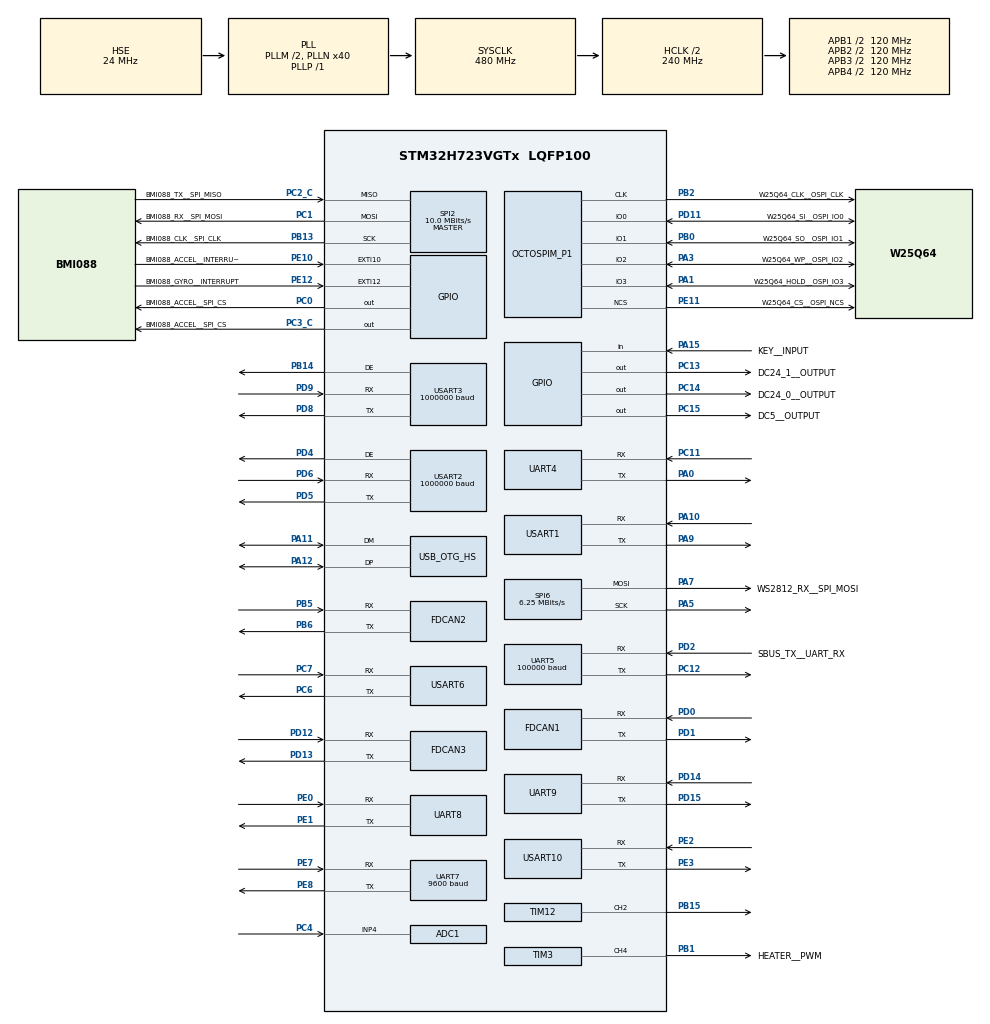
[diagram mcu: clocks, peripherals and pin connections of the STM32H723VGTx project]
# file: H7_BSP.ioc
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ADC1.Channel-0\#ChannelRegularConversion=ADC_CHANNEL_4
ADC1.ConversionDataManagement=ADC_CONVERSIONDATA_DMA_CIRCULAR
ADC1.NbrOfConversionFlag=1
ADC1.OffsetNumber-0\#ChannelRegularConversion=ADC_OFFSET_NONE
ADC1.OffsetSignedSaturation-0\#ChannelRegularConversion=DISABLE
ADC1.Rank-0\#ChannelRegularConversion=1
ADC1.SamplingTime-0\#ChannelRegularConversion=ADC_SAMPLETIME_1CYCLE_5
ADC1.master=1
CORTEX_M7.AccessPermission_Spec=MPU_REGION_FULL_ACCESS
CORTEX_M7.BaseAddress_Spec=0x24000000
CORTEX_M7.CPU_DCache=Enabled
CORTEX_M7.CPU_ICache=Enabled
CORTEX_M7.DisableExec_Spec=MPU_INSTRUCTION_ACCESS_DISABLE
CORTEX_M7.IsShareable_Spec=MPU_ACCESS_SHAREABLE
CORTEX_M7.Size_Spec=MPU_REGION_SIZE_64KB
CORTEX_M7.SubRegionDisable_Spec=0x0
CORTEX_M7.TypeExtField_Spec=MPU_TEX_LEVEL1
CORTEX_M7.default_mode_Activation=1
Dma.ADC1.11.Direction=DMA_PERIPH_TO_MEMORY
Dma.ADC1.11.EventEnable=DISABLE
Dma.ADC1.11.FIFOMode=DMA_FIFOMODE_DISABLE
Dma.ADC1.11.Instance=DMA2_Stream5
Dma.ADC1.11.MemDataAlignment=DMA_MDATAALIGN_HALFWORD
Dma.ADC1.11.MemInc=DMA_MINC_ENABLE
Dma.ADC1.11.Mode=DMA_CIRCULAR
Dma.ADC1.11.PeriphDataAlignment=DMA_PDATAALIGN_HALFWORD
Dma.ADC1.11.PeriphInc=DMA_PINC_DISABLE
Dma.ADC1.11.Polarity=HAL_DMAMUX_REQ_GEN_RISING
Dma.ADC1.11.Priority=DMA_PRIORITY_LOW
Dma.ADC1.11.RequestNumber=1
Dma.ADC1.11.SignalID=NONE
Dma.ADC1.11.SyncEnable=DISABLE
Dma.ADC1.11.SyncPolarity=HAL_DMAMUX_SYNC_NO_EVENT
Dma.ADC1.11.SyncRequestNumber=1
Dma.ADC1.11.SyncSignalID=NONE
Dma.Request0=SPI2_RX
Dma.Request1=SPI2_TX
Dma.Request10=USART10_TX
Dma.Request11=ADC1
Dma.Request12=UART8_RX
Dma.Request13=UART8_TX
Dma.Request14=UART9_RX
Dma.Request15=UART9_TX
Dma.Request2=UART5_RX
Dma.Request3=UART7_RX
Dma.Request4=UART7_TX
Dma.Request5=USART2_RX
Dma.Request6=USART2_TX
Dma.Request7=USART3_RX
Dma.Request8=USART3_TX
Dma.Request9=USART10_RX
Dma.SPI2_RX.0.Direction=DMA_PERIPH_TO_MEMORY
Dma.SPI2_RX.0.EventEnable=DISABLE
Dma.SPI2_RX.0.FIFOMode=DMA_FIFOMODE_DISABLE
Dma.SPI2_RX.0.Instance=DMA1_Stream0
Dma.SPI2_RX.0.MemDataAlignment=DMA_MDATAALIGN_BYTE
Dma.SPI2_RX.0.MemInc=DMA_MINC_ENABLE
Dma.SPI2_RX.0.Mode=DMA_NORMAL
Dma.SPI2_RX.0.PeriphDataAlignment=DMA_PDATAALIGN_BYTE
Dma.SPI2_RX.0.PeriphInc=DMA_PINC_DISABLE
Dma.SPI2_RX.0.Polarity=HAL_DMAMUX_REQ_GEN_RISING
Dma.SPI2_RX.0.Priority=DMA_PRIORITY_VERY_HIGH
Dma.SPI2_RX.0.RequestNumber=1
Dma.SPI2_RX.0.SignalID=NONE
Dma.SPI2_RX.0.SyncEnable=DISABLE
Dma.SPI2_RX.0.SyncPolarity=HAL_DMAMUX_SYNC_NO_EVENT
Dma.SPI2_RX.0.SyncRequestNumber=1
Dma.SPI2_RX.0.SyncSignalID=NONE
Dma.SPI2_TX.1.Direction=DMA_MEMORY_TO_PERIPH
Dma.SPI2_TX.1.EventEnable=DISABLE
Dma.SPI2_TX.1.FIFOMode=DMA_FIFOMODE_DISABLE
Dma.SPI2_TX.1.Instance=DMA1_Stream1
Dma.SPI2_TX.1.MemDataAlignment=DMA_MDATAALIGN_BYTE
Dma.SPI2_TX.1.MemInc=DMA_MINC_ENABLE
Dma.SPI2_TX.1.Mode=DMA_NORMAL
Dma.SPI2_TX.1.PeriphDataAlignment=DMA_PDATAALIGN_BYTE
Dma.SPI2_TX.1.PeriphInc=DMA_PINC_DISABLE
Dma.SPI2_TX.1.Polarity=HAL_DMAMUX_REQ_GEN_RISING
Dma.SPI2_TX.1.Priority=DMA_PRIORITY_MEDIUM
Dma.SPI2_TX.1.RequestNumber=1
Dma.SPI2_TX.1.SignalID=NONE
Dma.SPI2_TX.1.SyncEnable=DISABLE
Dma.SPI2_TX.1.SyncPolarity=HAL_DMAMUX_SYNC_NO_EVENT
Dma.SPI2_TX.1.SyncRequestNumber=1
Dma.SPI2_TX.1.SyncSignalID=NONE
Dma.UART5_RX.2.Direction=DMA_PERIPH_TO_MEMORY
Dma.UART5_RX.2.EventEnable=DISABLE
Dma.UART5_RX.2.FIFOMode=DMA_FIFOMODE_DISABLE
Dma.UART5_RX.2.Instance=DMA2_Stream3
Dma.UART5_RX.2.MemDataAlignment=DMA_MDATAALIGN_BYTE
Dma.UART5_RX.2.MemInc=DMA_MINC_ENABLE
Dma.UART5_RX.2.Mode=DMA_NORMAL
Dma.UART5_RX.2.PeriphDataAlignment=DMA_PDATAALIGN_BYTE
Dma.UART5_RX.2.PeriphInc=DMA_PINC_DISABLE
Dma.UART5_RX.2.Polarity=HAL_DMAMUX_REQ_GEN_RISING
Dma.UART5_RX.2.Priority=DMA_PRIORITY_VERY_HIGH
Dma.UART5_RX.2.RequestNumber=1
Dma.UART5_RX.2.SignalID=NONE
Dma.UART5_RX.2.SyncEnable=DISABLE
Dma.UART5_RX.2.SyncPolarity=HAL_DMAMUX_SYNC_NO_EVENT
Dma.UART5_RX.2.SyncRequestNumber=1
Dma.UART5_RX.2.SyncSignalID=NONE
Dma.UART7_RX.3.Direction=DMA_PERIPH_TO_MEMORY
Dma.UART7_RX.3.EventEnable=DISABLE
Dma.UART7_RX.3.FIFOMode=DMA_FIFOMODE_DISABLE
Dma.UART7_RX.3.Instance=DMA1_Stream2
Dma.UART7_RX.3.MemDataAlignment=DMA_MDATAALIGN_BYTE
Dma.UART7_RX.3.MemInc=DMA_MINC_ENABLE
Dma.UART7_RX.3.Mode=DMA_NORMAL
Dma.UART7_RX.3.PeriphDataAlignment=DMA_PDATAALIGN_BYTE
Dma.UART7_RX.3.PeriphInc=DMA_PINC_DISABLE
Dma.UART7_RX.3.Polarity=HAL_DMAMUX_REQ_GEN_RISING
Dma.UART7_RX.3.Priority=DMA_PRIORITY_MEDIUM
Dma.UART7_RX.3.RequestNumber=1
Dma.UART7_RX.3.SignalID=NONE
Dma.UART7_RX.3.SyncEnable=DISABLE
Dma.UART7_RX.3.SyncPolarity=HAL_DMAMUX_SYNC_NO_EVENT
Dma.UART7_RX.3.SyncRequestNumber=1
Dma.UART7_RX.3.SyncSignalID=NONE
Dma.UART7_TX.4.Direction=DMA_MEMORY_TO_PERIPH
Dma.UART7_TX.4.EventEnable=DISABLE
Dma.UART7_TX.4.FIFOMode=DMA_FIFOMODE_DISABLE
Dma.UART7_TX.4.Instance=DMA1_Stream3
Dma.UART7_TX.4.MemDataAlignment=DMA_MDATAALIGN_BYTE
Dma.UART7_TX.4.MemInc=DMA_MINC_ENABLE
Dma.UART7_TX.4.Mode=DMA_NORMAL
Dma.UART7_TX.4.PeriphDataAlignment=DMA_PDATAALIGN_BYTE
Dma.UART7_TX.4.PeriphInc=DMA_PINC_DISABLE
Dma.UART7_TX.4.Polarity=HAL_DMAMUX_REQ_GEN_RISING
Dma.UART7_TX.4.Priority=DMA_PRIORITY_MEDIUM
Dma.UART7_TX.4.RequestNumber=1
Dma.UART7_TX.4.SignalID=NONE
Dma.UART7_TX.4.SyncEnable=DISABLE
Dma.UART7_TX.4.SyncPolarity=HAL_DMAMUX_SYNC_NO_EVENT
Dma.UART7_TX.4.SyncRequestNumber=1
Dma.UART7_TX.4.SyncSignalID=NONE
Dma.UART8_RX.12.Direction=DMA_PERIPH_TO_MEMORY
Dma.UART8_RX.12.EventEnable=DISABLE
Dma.UART8_RX.12.FIFOMode=DMA_FIFOMODE_DISABLE
Dma.UART8_RX.12.Instance=DMA1_Stream5
Dma.UART8_RX.12.MemDataAlignment=DMA_MDATAALIGN_BYTE
Dma.UART8_RX.12.MemInc=DMA_MINC_ENABLE
Dma.UART8_RX.12.Mode=DMA_NORMAL
Dma.UART8_RX.12.PeriphDataAlignment=DMA_PDATAALIGN_BYTE
Dma.UART8_RX.12.PeriphInc=DMA_PINC_DISABLE
Dma.UART8_RX.12.Polarity=HAL_DMAMUX_REQ_GEN_RISING
Dma.UART8_RX.12.Priority=DMA_PRIORITY_LOW
Dma.UART8_RX.12.RequestNumber=1
Dma.UART8_RX.12.SignalID=NONE
Dma.UART8_RX.12.SyncEnable=DISABLE
Dma.UART8_RX.12.SyncPolarity=HAL_DMAMUX_SYNC_NO_EVENT
Dma.UART8_RX.12.SyncRequestNumber=1
Dma.UART8_RX.12.SyncSignalID=NONE
Dma.UART8_TX.13.Direction=DMA_MEMORY_TO_PERIPH
Dma.UART8_TX.13.EventEnable=DISABLE
Dma.UART8_TX.13.FIFOMode=DMA_FIFOMODE_DISABLE
Dma.UART8_TX.13.Instance=DMA1_Stream6
Dma.UART8_TX.13.MemDataAlignment=DMA_MDATAALIGN_BYTE
Dma.UART8_TX.13.MemInc=DMA_MINC_ENABLE
Dma.UART8_TX.13.Mode=DMA_NORMAL
Dma.UART8_TX.13.PeriphDataAlignment=DMA_PDATAALIGN_BYTE
Dma.UART8_TX.13.PeriphInc=DMA_PINC_DISABLE
Dma.UART8_TX.13.Polarity=HAL_DMAMUX_REQ_GEN_RISING
Dma.UART8_TX.13.Priority=DMA_PRIORITY_LOW
Dma.UART8_TX.13.RequestNumber=1
Dma.UART8_TX.13.SignalID=NONE
Dma.UART8_TX.13.SyncEnable=DISABLE
Dma.UART8_TX.13.SyncPolarity=HAL_DMAMUX_SYNC_NO_EVENT
Dma.UART8_TX.13.SyncRequestNumber=1
Dma.UART8_TX.13.SyncSignalID=NONE
Dma.UART9_RX.14.Direction=DMA_PERIPH_TO_MEMORY
Dma.UART9_RX.14.EventEnable=DISABLE
Dma.UART9_RX.14.FIFOMode=DMA_FIFOMODE_DISABLE
Dma.UART9_RX.14.Instance=DMA2_Stream6
Dma.UART9_RX.14.MemDataAlignment=DMA_MDATAALIGN_BYTE
Dma.UART9_RX.14.MemInc=DMA_MINC_ENABLE
Dma.UART9_RX.14.Mode=DMA_NORMAL
Dma.UART9_RX.14.PeriphDataAlignment=DMA_PDATAALIGN_BYTE
Dma.UART9_RX.14.PeriphInc=DMA_PINC_DISABLE
Dma.UART9_RX.14.Polarity=HAL_DMAMUX_REQ_GEN_RISING
Dma.UART9_RX.14.Priority=DMA_PRIORITY_LOW
Dma.UART9_RX.14.RequestNumber=1
Dma.UART9_RX.14.SignalID=NONE
Dma.UART9_RX.14.SyncEnable=DISABLE
Dma.UART9_RX.14.SyncPolarity=HAL_DMAMUX_SYNC_NO_EVENT
Dma.UART9_RX.14.SyncRequestNumber=1
Dma.UART9_RX.14.SyncSignalID=NONE
Dma.UART9_TX.15.Direction=DMA_MEMORY_TO_PERIPH
Dma.UART9_TX.15.EventEnable=DISABLE
Dma.UART9_TX.15.FIFOMode=DMA_FIFOMODE_DISABLE
Dma.UART9_TX.15.Instance=DMA2_Stream7
Dma.UART9_TX.15.MemDataAlignment=DMA_MDATAALIGN_BYTE
Dma.UART9_TX.15.MemInc=DMA_MINC_ENABLE
Dma.UART9_TX.15.Mode=DMA_NORMAL
Dma.UART9_TX.15.PeriphDataAlignment=DMA_PDATAALIGN_BYTE
Dma.UART9_TX.15.PeriphInc=DMA_PINC_DISABLE
Dma.UART9_TX.15.Polarity=HAL_DMAMUX_REQ_GEN_RISING
Dma.UART9_TX.15.Priority=DMA_PRIORITY_LOW
Dma.UART9_TX.15.RequestNumber=1
Dma.UART9_TX.15.SignalID=NONE
Dma.UART9_TX.15.SyncEnable=DISABLE
Dma.UART9_TX.15.SyncPolarity=HAL_DMAMUX_SYNC_NO_EVENT
Dma.UART9_TX.15.SyncRequestNumber=1
Dma.UART9_TX.15.SyncSignalID=NONE
Dma.USART10_RX.9.Direction=DMA_PERIPH_TO_MEMORY
Dma.USART10_RX.9.EventEnable=DISABLE
Dma.USART10_RX.9.FIFOMode=DMA_FIFOMODE_DISABLE
Dma.USART10_RX.9.Instance=DMA2_Stream2
Dma.USART10_RX.9.MemDataAlignment=DMA_MDATAALIGN_BYTE
Dma.USART10_RX.9.MemInc=DMA_MINC_ENABLE
Dma.USART10_RX.9.Mode=DMA_NORMAL
Dma.USART10_RX.9.PeriphDataAlignment=DMA_PDATAALIGN_BYTE
Dma.USART10_RX.9.PeriphInc=DMA_PINC_DISABLE
Dma.USART10_RX.9.Polarity=HAL_DMAMUX_REQ_GEN_RISING
Dma.USART10_RX.9.Priority=DMA_PRIORITY_VERY_HIGH
Dma.USART10_RX.9.RequestNumber=1
Dma.USART10_RX.9.SignalID=NONE
Dma.USART10_RX.9.SyncEnable=DISABLE
Dma.USART10_RX.9.SyncPolarity=HAL_DMAMUX_SYNC_NO_EVENT
Dma.USART10_RX.9.SyncRequestNumber=1
Dma.USART10_RX.9.SyncSignalID=NONE
Dma.USART10_TX.10.Direction=DMA_MEMORY_TO_PERIPH
Dma.USART10_TX.10.EventEnable=DISABLE
Dma.USART10_TX.10.FIFOMode=DMA_FIFOMODE_DISABLE
Dma.USART10_TX.10.Instance=DMA2_Stream4
Dma.USART10_TX.10.MemDataAlignment=DMA_MDATAALIGN_BYTE
Dma.USART10_TX.10.MemInc=DMA_MINC_ENABLE
Dma.USART10_TX.10.Mode=DMA_NORMAL
Dma.USART10_TX.10.PeriphDataAlignment=DMA_PDATAALIGN_BYTE
Dma.USART10_TX.10.PeriphInc=DMA_PINC_DISABLE
Dma.USART10_TX.10.Polarity=HAL_DMAMUX_REQ_GEN_RISING
Dma.USART10_TX.10.Priority=DMA_PRIORITY_VERY_HIGH
Dma.USART10_TX.10.RequestNumber=1
Dma.USART10_TX.10.SignalID=NONE
Dma.USART10_TX.10.SyncEnable=DISABLE
Dma.USART10_TX.10.SyncPolarity=HAL_DMAMUX_SYNC_NO_EVENT
Dma.USART10_TX.10.SyncRequestNumber=1
Dma.USART10_TX.10.SyncSignalID=NONE
Dma.USART2_RX.5.Direction=DMA_PERIPH_TO_MEMORY
Dma.USART2_RX.5.EventEnable=DISABLE
Dma.USART2_RX.5.FIFOMode=DMA_FIFOMODE_DISABLE
Dma.USART2_RX.5.Instance=DMA1_Stream4
Dma.USART2_RX.5.MemDataAlignment=DMA_MDATAALIGN_BYTE
Dma.USART2_RX.5.MemInc=DMA_MINC_ENABLE
Dma.USART2_RX.5.Mode=DMA_NORMAL
Dma.USART2_RX.5.PeriphDataAlignment=DMA_PDATAALIGN_BYTE
Dma.USART2_RX.5.PeriphInc=DMA_PINC_DISABLE
Dma.USART2_RX.5.Polarity=HAL_DMAMUX_REQ_GEN_RISING
Dma.USART2_RX.5.Priority=DMA_PRIORITY_MEDIUM
Dma.USART2_RX.5.RequestNumber=1
Dma.USART2_RX.5.SignalID=NONE
Dma.USART2_RX.5.SyncEnable=DISABLE
Dma.USART2_RX.5.SyncPolarity=HAL_DMAMUX_SYNC_NO_EVENT
Dma.USART2_RX.5.SyncRequestNumber=1
Dma.USART2_RX.5.SyncSignalID=NONE
Dma.USART2_TX.6.Direction=DMA_MEMORY_TO_PERIPH
Dma.USART2_TX.6.EventEnable=DISABLE
Dma.USART2_TX.6.FIFOMode=DMA_FIFOMODE_DISABLE
Dma.USART2_TX.6.Instance=DMA1_Stream7
Dma.USART2_TX.6.MemDataAlignment=DMA_MDATAALIGN_BYTE
Dma.USART2_TX.6.MemInc=DMA_MINC_ENABLE
Dma.USART2_TX.6.Mode=DMA_NORMAL
Dma.USART2_TX.6.PeriphDataAlignment=DMA_PDATAALIGN_BYTE
Dma.USART2_TX.6.PeriphInc=DMA_PINC_DISABLE
Dma.USART2_TX.6.Polarity=HAL_DMAMUX_REQ_GEN_RISING
Dma.USART2_TX.6.Priority=DMA_PRIORITY_MEDIUM
Dma.USART2_TX.6.RequestNumber=1
Dma.USART2_TX.6.SignalID=NONE
Dma.USART2_TX.6.SyncEnable=DISABLE
Dma.USART2_TX.6.SyncPolarity=HAL_DMAMUX_SYNC_NO_EVENT
Dma.USART2_TX.6.SyncRequestNumber=1
Dma.USART2_TX.6.SyncSignalID=NONE
Dma.USART3_RX.7.Direction=DMA_PERIPH_TO_MEMORY
Dma.USART3_RX.7.EventEnable=DISABLE
Dma.USART3_RX.7.FIFOMode=DMA_FIFOMODE_DISABLE
Dma.USART3_RX.7.Instance=DMA2_Stream0
Dma.USART3_RX.7.MemDataAlignment=DMA_MDATAALIGN_BYTE
Dma.USART3_RX.7.MemInc=DMA_MINC_ENABLE
Dma.USART3_RX.7.Mode=DMA_NORMAL
Dma.USART3_RX.7.PeriphDataAlignment=DMA_PDATAALIGN_BYTE
Dma.USART3_RX.7.PeriphInc=DMA_PINC_DISABLE
Dma.USART3_RX.7.Polarity=HAL_DMAMUX_REQ_GEN_RISING
Dma.USART3_RX.7.Priority=DMA_PRIORITY_MEDIUM
Dma.USART3_RX.7.RequestNumber=1
Dma.USART3_RX.7.SignalID=NONE
Dma.USART3_RX.7.SyncEnable=DISABLE
Dma.USART3_RX.7.SyncPolarity=HAL_DMAMUX_SYNC_NO_EVENT
Dma.USART3_RX.7.SyncRequestNumber=1
Dma.USART3_RX.7.SyncSignalID=NONE
Dma.USART3_TX.8.Direction=DMA_MEMORY_TO_PERIPH
Dma.USART3_TX.8.EventEnable=DISABLE
Dma.USART3_TX.8.FIFOMode=DMA_FIFOMODE_DISABLE
Dma.USART3_TX.8.Instance=DMA2_Stream1
Dma.USART3_TX.8.MemDataAlignment=DMA_MDATAALIGN_BYTE
Dma.USART3_TX.8.MemInc=DMA_MINC_ENABLE
Dma.USART3_TX.8.Mode=DMA_NORMAL
Dma.USART3_TX.8.PeriphDataAlignment=DMA_PDATAALIGN_BYTE
Dma.USART3_TX.8.PeriphInc=DMA_PINC_DISABLE
Dma.USART3_TX.8.Polarity=HAL_DMAMUX_REQ_GEN_RISING
Dma.USART3_TX.8.Priority=DMA_PRIORITY_MEDIUM
Dma.USART3_TX.8.RequestNumber=1
Dma.USART3_TX.8.SignalID=NONE
Dma.USART3_TX.8.SyncEnable=DISABLE
Dma.USART3_TX.8.SyncPolarity=HAL_DMAMUX_SYNC_NO_EVENT
Dma.USART3_TX.8.SyncRequestNumber=1
Dma.USART3_TX.8.SyncSignalID=NONE
FDCAN1.AutoRetransmission=DISABLE
FDCAN1.CalculateBaudRateNominal=1000000
FDCAN1.CalculateTimeBitNominal=1000
FDCAN1.CalculateTimeQuantumNominal=25.0
FDCAN1.DataPrescaler=3
FDCAN1.DataSyncJumpWidth=10
FDCAN1.DataTimeSeg1=29
FDCAN1.DataTimeSeg2=10
FDCAN1.NominalPrescaler=3
FDCAN1.NominalSyncJumpWidth=10
FDCAN1.NominalTimeSeg1=29
FDCAN1.NominalTimeSeg2=10
FDCAN1.ProtocolException=DISABLE
FDCAN1.RxFifo0ElmtsNbr=16
FDCAN1.StdFiltersNbr=1
FDCAN1.TxFifoQueueElmtsNbr=8
FDCAN2.AutoRetransmission=DISABLE
FDCAN2.CalculateBaudRateNominal=1000000
FDCAN2.CalculateTimeBitNominal=1000
FDCAN2.CalculateTimeQuantumNominal=25.0
FDCAN2.DataPrescaler=3
FDCAN2.DataSyncJumpWidth=10
FDCAN2.DataTimeSeg1=29
FDCAN2.DataTimeSeg2=10
FDCAN2.MessageRAMOffset=853
FDCAN2.NominalPrescaler=3
FDCAN2.NominalSyncJumpWidth=10
FDCAN2.NominalTimeSeg1=29
FDCAN2.NominalTimeSeg2=10
FDCAN2.RxFifo0ElmtsNbr=16
FDCAN2.StdFiltersNbr=1
FDCAN2.TxFifoQueueElmtsNbr=8
FDCAN3.AutoRetransmission=DISABLE
FDCAN3.CalculateBaudRateNominal=1000000
FDCAN3.CalculateTimeBitNominal=1000
FDCAN3.CalculateTimeQuantumNominal=25.0
FDCAN3.DataPrescaler=3
FDCAN3.DataSyncJumpWidth=10
FDCAN3.DataTimeSeg1=29
FDCAN3.DataTimeSeg2=10
FDCAN3.MessageRAMOffset=1706
FDCAN3.NominalPrescaler=3
FDCAN3.NominalSyncJumpWidth=10
FDCAN3.NominalTimeSeg1=29
FDCAN3.NominalTimeSeg2=10
FDCAN3.RxFifo0ElmtsNbr=16
FDCAN3.StdFiltersNbr=1
FDCAN3.TxFifoQueueElmtsNbr=8
FREERTOS.HEAP_NUMBER=5
FREERTOS.Tasks01=TransportTask,24,2048,Transport_Task,As weak,NULL,Dynamic,NULL,NULL;InsTask,41,2048,Ins_Task,As weak,NULL,Dynamic,NULL,NULL;CanTxTask,40,1024,Can_Tx_Task,As weak,NULL,Dynamic,NULL,NULL;TIM_1ms_Task,8,1024,TIM1msTask,As weak,NULL,Dynamic,NULL,NULL;BMI088Task,8,2048,BMI088_Task,As weak,NULL,Dynamic,NULL,NULL;GimbalTask,8,2048,Control_Task,As weak,NULL,Dynamic,NULL,NULL
FREERTOS.configENABLE_FPU=1
FREERTOS.configGENERATE_RUN_TIME_STATS=1
FREERTOS.configMAX_TASK_NAME_LEN=32
FREERTOS.configMINIMAL_STACK_SIZE=1024
FREERTOS.configRECORD_STACK_HIGH_ADDRESS=1
FREERTOS.configTIMER_TASK_STACK_DEPTH=2048
FREERTOS.configTOTAL_HEAP_SIZE=65536
Mcu.Family=STM32H7
Mcu.Name=STM32H723VGTx
Mcu.Package=LQFP100
Mdma.MDMA_Channel0.OCTOSPI2_FIFO_TH.0.BlockCount=0
Mdma.MDMA_Channel0.OCTOSPI2_FIFO_TH.0.BlockDataLength=0
Mdma.MDMA_Channel0.OCTOSPI2_FIFO_TH.0.BufferTransferLength=1
Mdma.MDMA_Channel0.OCTOSPI2_FIFO_TH.0.CircularMode=MDMA_LINEAR_LIST
Mdma.MDMA_Channel0.OCTOSPI2_FIFO_TH.0.DataAlignment=MDMA_DATAALIGN_PACKENABLE
Mdma.MDMA_Channel0.OCTOSPI2_FIFO_TH.0.DestBlockAddressOffset=0
Mdma.MDMA_Channel0.OCTOSPI2_FIFO_TH.0.DestBurst=MDMA_DEST_BURST_SINGLE
Mdma.MDMA_Channel0.OCTOSPI2_FIFO_TH.0.DestDataSize=MDMA_DEST_DATASIZE_BYTE
Mdma.MDMA_Channel0.OCTOSPI2_FIFO_TH.0.DestinationInc=MDMA_DEST_INC_BYTE
Mdma.MDMA_Channel0.OCTOSPI2_FIFO_TH.0.DstAddress=0
Mdma.MDMA_Channel0.OCTOSPI2_FIFO_TH.0.Endianness=MDMA_LITTLE_ENDIANNESS_PRESERVE
Mdma.MDMA_Channel0.OCTOSPI2_FIFO_TH.0.Instance=MDMA_Channel0
Mdma.MDMA_Channel0.OCTOSPI2_FIFO_TH.0.MaskAddress=0
Mdma.MDMA_Channel0.OCTOSPI2_FIFO_TH.0.MaskData=0
Mdma.MDMA_Channel0.OCTOSPI2_FIFO_TH.0.Priority=MDMA_PRIORITY_LOW
Mdma.MDMA_Channel0.OCTOSPI2_FIFO_TH.0.Rank=First
Mdma.MDMA_Channel0.OCTOSPI2_FIFO_TH.0.SourceBlockAddressOffset=0
Mdma.MDMA_Channel0.OCTOSPI2_FIFO_TH.0.SourceBurst=MDMA_SOURCE_BURST_SINGLE
Mdma.MDMA_Channel0.OCTOSPI2_FIFO_TH.0.SourceDataSize=MDMA_SRC_DATASIZE_BYTE
Mdma.MDMA_Channel0.OCTOSPI2_FIFO_TH.0.SourceInc=MDMA_SRC_INC_BYTE
Mdma.MDMA_Channel0.OCTOSPI2_FIFO_TH.0.SrcAddress=0
Mdma.MDMA_Channel0.OCTOSPI2_FIFO_TH.0.TransferTriggerMode=MDMA_BUFFER_TRANSFER
Mdma.MDMA_Channel0.Request0=OCTOSPI2_FIFO_TH
Mdma.MDMA_Channel0.RequestsNb=1
Mdma.RequestSet0=MDMA_Channel0
Mdma.RequestSetsNb=1
NVIC.DMA1_Stream0_IRQn=true\:5\:0\:false\:false\:true\:true\:false\:true\:true
NVIC.DMA1_Stream1_IRQn=true\:5\:0\:false\:false\:true\:true\:false\:true\:true
NVIC.DMA1_Stream2_IRQn=true\:5\:0\:false\:false\:true\:true\:false\:true\:true
NVIC.DMA1_Stream3_IRQn=true\:5\:0\:false\:false\:true\:true\:false\:true\:true
NVIC.DMA1_Stream4_IRQn=true\:5\:0\:false\:false\:true\:true\:false\:true\:true
NVIC.DMA1_Stream5_IRQn=true\:5\:0\:false\:false\:true\:true\:false\:true\:true
NVIC.DMA1_Stream6_IRQn=true\:5\:0\:false\:false\:true\:true\:false\:true\:true
NVIC.DMA1_Stream7_IRQn=true\:5\:0\:false\:false\:true\:true\:false\:true\:true
NVIC.DMA2_Stream0_IRQn=true\:5\:0\:false\:false\:true\:true\:false\:true\:true
NVIC.DMA2_Stream1_IRQn=true\:5\:0\:false\:false\:true\:true\:false\:true\:true
NVIC.DMA2_Stream2_IRQn=true\:5\:0\:false\:false\:true\:true\:false\:true\:true
NVIC.DMA2_Stream3_IRQn=true\:5\:0\:true\:false\:true\:false\:false\:true\:true
NVIC.DMA2_Stream4_IRQn=true\:5\:0\:false\:false\:true\:true\:false\:true\:true
NVIC.DMA2_Stream5_IRQn=true\:5\:0\:false\:false\:true\:true\:false\:true\:true
NVIC.DMA2_Stream6_IRQn=true\:5\:0\:false\:false\:true\:true\:false\:true\:true
NVIC.DMA2_Stream7_IRQn=true\:5\:0\:false\:false\:true\:true\:false\:true\:true
NVIC.EXTI15_10_IRQn=true\:5\:0\:false\:false\:true\:true\:true\:true\:true
NVIC.FDCAN1_IT0_IRQn=true\:5\:0\:false\:false\:true\:true\:true\:true\:true
NVIC.FDCAN1_IT1_IRQn=true\:5\:0\:false\:false\:true\:true\:true\:true\:true
NVIC.FDCAN2_IT0_IRQn=true\:5\:0\:false\:false\:true\:true\:true\:true\:true
NVIC.FDCAN2_IT1_IRQn=true\:5\:0\:false\:false\:true\:true\:true\:true\:true
NVIC.FDCAN3_IT0_IRQn=true\:5\:0\:false\:false\:true\:true\:true\:true\:true
NVIC.FDCAN3_IT1_IRQn=true\:5\:0\:false\:false\:true\:true\:true\:true\:true
NVIC.MDMA_IRQn=true\:5\:0\:true\:false\:true\:false\:false\:true\:true
NVIC.OCTOSPI2_IRQn=true\:5\:0\:false\:false\:true\:true\:true\:true\:true
NVIC.OTG_HS_IRQn=true\:5\:0\:false\:false\:true\:true\:false\:true\:true
NVIC.PriorityGroup=NVIC_PRIORITYGROUP_4
NVIC.SPI2_IRQn=true\:5\:0\:false\:false\:true\:true\:true\:true\:true
NVIC.TIM2_IRQn=true\:15\:0\:false\:false\:true\:false\:false\:true\:true
NVIC.TIM4_IRQn=true\:5\:0\:false\:false\:true\:true\:true\:true\:true
NVIC.TIM5_IRQn=true\:5\:0\:false\:false\:true\:true\:true\:true\:true
NVIC.TIM7_IRQn=true\:5\:0\:false\:false\:true\:true\:true\:true\:true
NVIC.TIM8_UP_TIM13_IRQn=true\:5\:0\:false\:false\:true\:true\:true\:true\:true
NVIC.TimeBase=TIM2_IRQn
NVIC.TimeBaseIP=TIM2
NVIC.UART5_IRQn=true\:5\:0\:false\:false\:true\:true\:true\:true\:true
NVIC.UART7_IRQn=true\:5\:0\:false\:false\:true\:true\:false\:true\:true
NVIC.USART10_IRQn=true\:5\:0\:false\:false\:true\:true\:true\:true\:true
NVIC.USART1_IRQn=true\:5\:0\:false\:false\:true\:true\:true\:true\:true
NVIC.USART2_IRQn=true\:5\:0\:false\:false\:true\:true\:false\:true\:true
NVIC.USART3_IRQn=true\:5\:0\:false\:false\:true\:true\:false\:true\:true
NVIC.USART6_IRQn=true\:5\:0\:false\:false\:true\:true\:true\:true\:true
OCTOSPI2.ClockMode=HAL_OSPI_CLOCK_MODE_3
OCTOSPI2.ClockPrescaler=2
OCTOSPI2.DeviceSize=23
OCTOSPI2.SampleShifting=HAL_OSPI_SAMPLE_SHIFTING_HALFCYCLE
PA0.Mode=Asynchronous
PA0.Signal=UART4_TX
PA1.GPIO_Label=W25Q64_HOLD__OSPI_IO3
PA1.Mode=OCTOSPI2_IOL_Port1L
PA1.Signal=OCTOSPIM_P1_IO3
PA10.Mode=Asynchronous
PA10.Signal=USART1_RX
PA11.Mode=Device_Only_FS
PA11.Signal=USB_OTG_HS_DM
PA12.Mode=Device_Only_FS
PA12.Signal=USB_OTG_HS_DP
PA13(JTMS/SWDIO).Mode=Serial_Wire
PA13(JTMS/SWDIO).Signal=DEBUG_JTMS-SWDIO
PA14(JTCK/SWCLK).Mode=Serial_Wire
PA14(JTCK/SWCLK).Signal=DEBUG_JTCK-SWCLK
PA15(JTDI).GPIO_Label=KEY__INPUT
PA15(JTDI).Signal=GPIO_Input
PA3.GPIO_Label=W25Q64_WP__OSPI_IO2
PA3.Mode=OCTOSPI2_IOL_Port1L
PA3.Signal=OCTOSPIM_P1_IO2
PA5.GPIO_Speed=GPIO_SPEED_FREQ_VERY_HIGH
PA5.Mode=TX_Only_Simplex_Unidirect_Master
PA5.Signal=SPI6_SCK
PA7.GPIO_Label=WS2812_RX__SPI_MOSI
PA7.GPIO_Speed=GPIO_SPEED_FREQ_VERY_HIGH
PA7.Mode=TX_Only_Simplex_Unidirect_Master
PA7.Signal=SPI6_MOSI
PA9.Mode=Asynchronous
PA9.Signal=USART1_TX
PB0.GPIO_Label=W25Q64_SO__OSPI_IO1
PB0.Mode=OCTOSPI2_IOL_Port1L
PB0.Signal=OCTOSPIM_P1_IO1
PB1.GPIO_Label=HEATER__PWM
PB1.Signal=S_TIM3_CH4
PB13.GPIO_Label=BMI088_CLK__SPI_CLK
PB13.GPIO_Speed=GPIO_SPEED_FREQ_VERY_HIGH
PB13.Mode=Full_Duplex_Master
PB13.Signal=SPI2_SCK
PB14.Mode=Hardware Flow Control (RS485)
PB14.Signal=USART3_DE
PB15.Signal=S_TIM12_CH2
PB2.GPIO_Label=W25Q64_CLK__OSPI_CLK
PB2.Mode=O2_P1_CLK
PB2.Signal=OCTOSPIM_P1_CLK
PB5.Mode=FDCAN_Activate
PB5.Signal=FDCAN2_RX
PB6.Mode=FDCAN_Activate
PB6.Signal=FDCAN2_TX
PC0.GPIO_Label=BMI088_ACCEL__SPI_CS
PC0.GPIO_Speed=GPIO_SPEED_FREQ_VERY_HIGH
PC0.PinState=GPIO_PIN_SET
PC0.Signal=GPIO_Output
PC1.GPIO_Label=BMI088_RX__SPI_MOSI
PC1.GPIO_Speed=GPIO_SPEED_FREQ_VERY_HIGH
PC1.Mode=Full_Duplex_Master
PC1.Signal=SPI2_MOSI
PC11.Mode=Asynchronous
PC11.Signal=UART4_RX
PC12.Mode=Asynchronous
PC12.Signal=UART5_TX
PC13.GPIO_Label=DC24_1__OUTPUT
PC13.Signal=GPIO_Output
PC14-OSC32_IN.GPIO_Label=DC24_0__OUTPUT
PC14-OSC32_IN.Signal=GPIO_Output
PC15-OSC32_OUT.GPIO_Label=DC5__OUTPUT
PC15-OSC32_OUT.Signal=GPIO_Output
PC2_C.GPIO_Label=BMI088_TX__SPI_MISO
PC2_C.GPIO_Speed=GPIO_SPEED_FREQ_VERY_HIGH
PC2_C.Mode=Full_Duplex_Master
PC2_C.Signal=SPI2_MISO
PC3_C.GPIO_Label=BMI088_ACCEL__SPI_CS
PC3_C.GPIO_Speed=GPIO_SPEED_FREQ_VERY_HIGH
PC3_C.PinState=GPIO_PIN_SET
PC3_C.Signal=GPIO_Output
PC4.Signal=ADCx_INP4
PC6.Mode=Asynchronous
PC6.Signal=USART6_TX
PC7.Mode=Asynchronous
PC7.Signal=USART6_RX
PD0.Mode=FDCAN_Activate
PD0.Signal=FDCAN1_RX
PD1.Mode=FDCAN_Activate
PD1.Signal=FDCAN1_TX
PD11.GPIO_Label=W25Q64_SI__OSPI_IO0
PD11.Mode=OCTOSPI2_IOL_Port1L
PD11.Signal=OCTOSPIM_P1_IO0
PD12.Mode=FDCAN_Activate
PD12.Signal=FDCAN3_RX
PD13.Mode=FDCAN_Activate
PD13.Signal=FDCAN3_TX
PD14.Mode=Asynchronous
PD14.Signal=UART9_RX
PD15.Mode=Asynchronous
PD15.Signal=UART9_TX
PD2.GPIO_Label=SBUS_TX__UART_RX
PD2.GPIO_Speed=GPIO_SPEED_FREQ_VERY_HIGH
PD2.Mode=Asynchronous
PD2.Signal=UART5_RX
PD4.Mode=Hardware Flow Control (RS485)
PD4.Signal=USART2_DE
PD5.Mode=Asynchronous
PD5.Signal=USART2_TX
PD6.Mode=Asynchronous
PD6.Signal=USART2_RX
PD8.Mode=Asynchronous
PD8.Signal=USART3_TX
PD9.Mode=Asynchronous
PD9.Signal=USART3_RX
PE0.Mode=Asynchronous
PE0.Signal=UART8_RX
PE1.Mode=Asynchronous
PE1.Signal=UART8_TX
PE10.GPIO_Label=BMI088_ACCEL__INTERRUPT
PE10.Signal=GPXTI10
PE11.GPIO_Label=W25Q64_CS__OSPI_NCS
PE11.Mode=OCTOSPI2_Port1_NCS
PE11.Signal=OCTOSPIM_P1_NCS
PE12.GPIO_Label=BMI088_GYRO__INTERRUPT
PE12.GPIO_ModeDefaultEXTI=GPIO_MODE_IT_RISING
PE12.Signal=GPXTI12
PE2.Mode=Asynchronous
PE2.Signal=USART10_RX
PE3.Mode=Asynchronous
PE3.Signal=USART10_TX
PE7.Mode=Asynchronous
PE7.Signal=UART7_RX
PE8.Mode=Asynchronous
PE8.Signal=UART7_TX
PH0-OSC_IN.Mode=HSE-External-Oscillator
PH0-OSC_IN.Signal=RCC_OSC_IN
PH1-OSC_OUT.Mode=HSE-External-Oscillator
PH1-OSC_OUT.Signal=RCC_OSC_OUT
ProjectManager.HeapSize=0x1000
ProjectManager.StackSize=0x1000
ProjectManager.TargetToolchain=CMake
RCC.ADCFreq_Value=100000000
RCC.APB1Freq_Value=120000000
RCC.APB2Freq_Value=120000000
RCC.APB3Freq_Value=120000000
RCC.APB4Freq_Value=120000000
RCC.CKPERSourceSelection=RCC_CLKPSOURCE_HSE
RCC.CortexFreq_Value=480000000
RCC.D1PPRE=RCC_APB3_DIV2
RCC.D2PPRE1=RCC_APB1_DIV2
RCC.D2PPRE2=RCC_APB2_DIV2
RCC.D3PPRE=RCC_APB4_DIV2
RCC.DIVM1=2
RCC.DIVM2=12
RCC.DIVM3=24
RCC.DIVN1=40
RCC.DIVN2=100
RCC.DIVN3=160
RCC.DIVP1=1
RCC.DIVQ1=4
RCC.DIVQ2=4
RCC.HCLKFreq_Value=240000000
RCC.HPRE=RCC_HCLK_DIV2
RCC.HSE_VALUE=24000000
RCC.PLLFRACN=0
RCC.PLLSourceVirtual=RCC_PLLSOURCE_HSE
RCC.SPI123CLockSelection=RCC_SPI123CLKSOURCE_PLL3
RCC.SPI6CLockSelection=RCC_SPI6CLKSOURCE_PLL2
RCC.SYSCLKFreq_VALUE=480000000
RCC.SYSCLKSource=RCC_SYSCLKSOURCE_PLLCLK
RCC.USBCLockSelection=RCC_USBCLKSOURCE_HSI48
RCC.USBFreq_Value=48000000
SH.ADCx_INP4.0=ADC1_INP4,IN4-Single-Ended
SH.S_TIM12_CH2.0=TIM12_CH2,PWM Generation2 CH2
SH.S_TIM3_CH4.0=TIM3_CH4,PWM Generation4 CH4
SPI2.BaudRatePrescaler=SPI_BAUDRATEPRESCALER_8
SPI2.CLKPhase=SPI_PHASE_2EDGE
SPI2.CLKPolarity=SPI_POLARITY_HIGH
SPI2.CalculateBaudRate=10.0 MBits/s
SPI2.DataSize=SPI_DATASIZE_8BIT
SPI2.Direction=SPI_DIRECTION_2LINES
SPI2.Mode=SPI_MODE_MASTER
SPI2.VirtualType=VM_MASTER
SPI6.BaudRatePrescaler=SPI_BAUDRATEPRESCALER_8
SPI6.CalculateBaudRate=6.25 MBits/s
SPI6.DataSize=SPI_DATASIZE_8BIT
SPI6.Direction=SPI_DIRECTION_2LINES_TXONLY
SPI6.Mode=SPI_MODE_MASTER
SPI6.VirtualType=VM_MASTER
STMicroelectronics.X-CUBE-ALGOBUILD.1.4.0.LibraryCcDSPOoLibraryJjDSPOoLibrary=true
TIM12.Channel-PWM\ Generation2\ CH2=TIM_CHANNEL_2
TIM12.Prescaler=240-1
TIM3.AutoReloadPreload=TIM_AUTORELOAD_PRELOAD_ENABLE
TIM3.Channel-PWM\ Generation4\ CH4=TIM_CHANNEL_4
TIM3.Period=20000
TIM3.Prescaler=80-1
TIM4.Period=1000-1
TIM4.Prescaler=240-1
TIM5.Period=3600000000-1
TIM5.Prescaler=240-1
TIM7.Prescaler=240-1
TIM8.Period=125-1
UART5.BaudRate=100000
UART5.Mode=MODE_RX
UART5.Parity=PARITY_EVEN
UART5.StopBits=UART_STOPBITS_2
UART5.WordLength=WORDLENGTH_9B
UART7.BaudRate=9600
USART1.VirtualMode-Asynchronous=VM_ASYNC
USART10.VirtualMode=VM_ASYNC
USART2.BaudRate=1000000
USART2.OverSampling=UART_OVERSAMPLING_16
USART2.VirtualMode-Asynchronous=VM_ASYNC
USART2.VirtualMode-Hardware\ Flow\ Control\ (RS485)=VM_ASYNC
USART3.BaudRate=1000000
USART3.VirtualMode-Asynchronous=VM_ASYNC
USART3.VirtualMode-Hardware\ Flow\ Control\ (RS485)=VM_ASYNC
USART6.VirtualMode=VM_ASYNC
USB_DEVICE.CLASS_NAME_HS=CDC
USB_DEVICE.MANUFACTURER_STRING=Echo
USB_DEVICE.PRODUCT_STRING_CDC_HS=Echo
USB_DEVICE.VirtualMode=Cdc
USB_DEVICE.VirtualModeHS=Cdc_HS
USB_OTG_HS.VirtualMode-Device_Only_FS=Device_Only_FS
VP_FREERTOS_VS_CMSIS_V2.Mode=CMSIS_V2
VP_MEMORYMAP_VS_MEMORYMAP.Mode=CurAppReg
VP_OCTOSPI2_VS_octo.Mode=octo_mode
VP_STMicroelectronics.X-CUBE-ALGOBUILD_VS_DSPOoLibraryJjLibrary_1.4.0_1.4.0.Mode=DSPOoLibraryJjLibrary
VP_SYS_VS_tim2.Mode=TIM2
VP_TIM4_VS_ClockSourceINT.Mode=Internal
VP_TIM5_VS_ClockSourceINT.Mode=Internal
VP_TIM7_VS_ClockSourceINT.Mode=Enable_Timer
VP_TIM8_VS_ClockSourceINT.Mode=Internal
VP_USB_DEVICE_VS_USB_DEVICE_CDC_HS.Mode=CDC_HS
board=custom

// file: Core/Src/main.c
/* USER CODE BEGIN Header */
/**
  ******************************************************************************
  * @file           : main.c
  * @brief          : Main program body
  ******************************************************************************
  * @attention
  *
  * Copyright (c) 2026 STMicroelectronics.
  * All rights reserved.
  *
  * This software is licensed under terms that can be found in the LICENSE file
  * in the root directory of this software component.
  * If no LICENSE file comes with this software, it is provided AS-IS.
  *
  ******************************************************************************
  */
/* USER CODE END Header */
#include "main.h"
#include "cmsis_os.h"
#include "adc.h"
#include "dma.h"
#include "fdcan.h"
#include "mdma.h"
#include "octospi.h"
#include "spi.h"
#include "tim.h"
#include "usart.h"
#include "usb_device.h"
#include "gpio.h"

/* USER CODE BEGIN Includes */
#include "SEGGER_SYSVIEW.h"
#include "Init.h"

/* Forward declaration if header is incomplete */

/* USER CODE END Includes */

void SystemClock_Config(void);
void PeriphCommonClock_Config(void);
static void MPU_Config(void);
void MX_FREERTOS_Init(void);

int main(void)
{

  /* MPU Configuration--------------------------------------------------------*/
  MPU_Config();

  /* Enable the CPU Cache */

  /* Enable I-Cache---------------------------------------------------------*/
  SCB_EnableICache();

  /* Enable D-Cache---------------------------------------------------------*/
  SCB_EnableDCache();

  /* MCU Configuration--------------------------------------------------------*/

  /* Reset of all peripherals, Initializes the Flash interface and the Systick. */
  HAL_Init();

  /* Configure the system clock */
  SystemClock_Config();

  /* Configure the peripherals common clocks */
  PeriphCommonClock_Config();

  /* Initialize all configured peripherals */
  MX_GPIO_Init();
  MX_DMA_Init();
  MX_MDMA_Init();
  MX_FDCAN1_Init();
  MX_FDCAN2_Init();
  MX_FDCAN3_Init();
  MX_SPI2_Init();
  MX_OCTOSPI2_Init();
  MX_SPI6_Init();
  MX_UART5_Init();
  MX_UART7_Init();
  MX_USART1_UART_Init();
  MX_USART2_UART_Init();
  MX_USART3_UART_Init();
  MX_USART10_UART_Init();
  MX_TIM3_Init();
  MX_TIM4_Init();
  MX_TIM5_Init();
  MX_TIM7_Init();
  MX_TIM8_Init();
  MX_TIM12_Init();
  MX_ADC1_Init();
  MX_USART6_UART_Init();
  MX_UART4_Init();
  MX_UART8_Init();
  MX_UART9_Init();
  /* USER CODE BEGIN 2 */
  System_Init();

  /* USER CODE END 2 */

  /* Init scheduler */
  osKernelInitialize();  /* Call init function for freertos objects (in cmsis_os2.c) */
  MX_FREERTOS_Init();

  /* Start scheduler */
  osKernelStart();

  /* We should never get here as control is now taken by the scheduler */

  /* Infinite loop */
  while (1)
  {

  }
}

void SystemClock_Config(void)
{
  RCC_OscInitTypeDef RCC_OscInitStruct = {0};
  RCC_ClkInitTypeDef RCC_ClkInitStruct = {0};

  /** Supply configuration update enable
  */
  HAL_PWREx_ConfigSupply(PWR_LDO_SUPPLY);

  /** Configure the main internal regulator output voltage
  */
  __HAL_PWR_VOLTAGESCALING_CONFIG(PWR_REGULATOR_VOLTAGE_SCALE0);

  while(!__HAL_PWR_GET_FLAG(PWR_FLAG_VOSRDY)) {}

  /** Initializes the RCC Oscillators according to the specified parameters
  * in the RCC_OscInitTypeDef structure.
  */
  RCC_OscInitStruct.OscillatorType = RCC_OSCILLATORTYPE_HSI48|RCC_OSCILLATORTYPE_HSE;
  RCC_OscInitStruct.HSEState = RCC_HSE_ON;
  RCC_OscInitStruct.HSI48State = RCC_HSI48_ON;
  RCC_OscInitStruct.PLL.PLLState = RCC_PLL_ON;
  RCC_OscInitStruct.PLL.PLLSource = RCC_PLLSOURCE_HSE;
  RCC_OscInitStruct.PLL.PLLM = 2;
  RCC_OscInitStruct.PLL.PLLN = 40;
  RCC_OscInitStruct.PLL.PLLP = 1;
  RCC_OscInitStruct.PLL.PLLQ = 4;
  RCC_OscInitStruct.PLL.PLLR = 2;
  RCC_OscInitStruct.PLL.PLLRGE = RCC_PLL1VCIRANGE_3;
  RCC_OscInitStruct.PLL.PLLVCOSEL = RCC_PLL1VCOWIDE;
  RCC_OscInitStruct.PLL.PLLFRACN = 0;
  if (HAL_RCC_OscConfig(&RCC_OscInitStruct) != HAL_OK)
  {
    Error_Handler();
  }

  /** Initializes the CPU, AHB and APB buses clocks
  */
  RCC_ClkInitStruct.ClockType = RCC_CLOCKTYPE_HCLK|RCC_CLOCKTYPE_SYSCLK
                              |RCC_CLOCKTYPE_PCLK1|RCC_CLOCKTYPE_PCLK2
                              |RCC_CLOCKTYPE_D3PCLK1|RCC_CLOCKTYPE_D1PCLK1;
  RCC_ClkInitStruct.SYSCLKSource = RCC_SYSCLKSOURCE_PLLCLK;
  RCC_ClkInitStruct.SYSCLKDivider = RCC_SYSCLK_DIV1;
  RCC_ClkInitStruct.AHBCLKDivider = RCC_HCLK_DIV2;
  RCC_ClkInitStruct.APB3CLKDivider = RCC_APB3_DIV2;
  RCC_ClkInitStruct.APB1CLKDivider = RCC_APB1_DIV2;
  RCC_ClkInitStruct.APB2CLKDivider = RCC_APB2_DIV2;
  RCC_ClkInitStruct.APB4CLKDivider = RCC_APB4_DIV2;

  if (HAL_RCC_ClockConfig(&RCC_ClkInitStruct, FLASH_LATENCY_3) != HAL_OK)
  {
    Error_Handler();
  }
}

void PeriphCommonClock_Config(void)
{
  RCC_PeriphCLKInitTypeDef PeriphClkInitStruct = {0};

  /** Initializes the peripherals clock
  */
  PeriphClkInitStruct.PeriphClockSelection = RCC_PERIPHCLK_SPI6|RCC_PERIPHCLK_ADC;
  PeriphClkInitStruct.PLL2.PLL2M = 12;
  PeriphClkInitStruct.PLL2.PLL2N = 100;
  PeriphClkInitStruct.PLL2.PLL2P = 2;
  PeriphClkInitStruct.PLL2.PLL2Q = 4;
  PeriphClkInitStruct.PLL2.PLL2R = 2;
  PeriphClkInitStruct.PLL2.PLL2RGE = RCC_PLL2VCIRANGE_1;
  PeriphClkInitStruct.PLL2.PLL2VCOSEL = RCC_PLL2VCOWIDE;
  PeriphClkInitStruct.PLL2.PLL2FRACN = 0;
  PeriphClkInitStruct.AdcClockSelection = RCC_ADCCLKSOURCE_PLL2;
  PeriphClkInitStruct.Spi6ClockSelection = RCC_SPI6CLKSOURCE_PLL2;
  if (HAL_RCCEx_PeriphCLKConfig(&PeriphClkInitStruct) != HAL_OK)
  {
    Error_Handler();
  }
}

 /* MPU Configuration */

void MPU_Config(void)
{
  MPU_Region_InitTypeDef MPU_InitStruct = {0};

  /* Disables the MPU */
  HAL_MPU_Disable();

  /** Initializes and configures the Region and the memory to be protected
  */
  MPU_InitStruct.Enable = MPU_REGION_ENABLE;
  MPU_InitStruct.Number = MPU_REGION_NUMBER0;
  MPU_InitStruct.BaseAddress = 0x24000000;
  MPU_InitStruct.Size = MPU_REGION_SIZE_512KB;
  MPU_InitStruct.SubRegionDisable = 0x0;
  MPU_InitStruct.TypeExtField = MPU_TEX_LEVEL0;
  MPU_InitStruct.AccessPermission = MPU_REGION_FULL_ACCESS;
  MPU_InitStruct.DisableExec = MPU_INSTRUCTION_ACCESS_ENABLE;
  MPU_InitStruct.IsShareable = MPU_ACCESS_NOT_SHAREABLE;
  MPU_InitStruct.IsCacheable = MPU_ACCESS_NOT_CACHEABLE;
  MPU_InitStruct.IsBufferable = MPU_ACCESS_NOT_BUFFERABLE;

  HAL_MPU_ConfigRegion(&MPU_InitStruct);
  /* Enables the MPU */
  HAL_MPU_Enable(MPU_PRIVILEGED_DEFAULT);

}

// void HAL_TIM_PeriodElapsedCallback(TIM_HandleTypeDef *htim)
// {
//   /* USER CODE BEGIN Callback 0 */

//   /* USER CODE END Callback 0 */
//   if (htim->Instance == TIM2)
//   {
//     HAL_IncTick();
//   }
//   /* USER CODE BEGIN Callback 1 */

//   /* USER CODE END Callback 1 */
// }

void Error_Handler(void)
{
  __disable_irq();
  while (1)
  {
  }
}

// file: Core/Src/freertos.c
/* USER CODE BEGIN Header */
/**
  ******************************************************************************
  * File Name          : freertos.c
  * Description        : Code for freertos applications
  ******************************************************************************
  * @attention
  *
  * Copyright (c) 2026 STMicroelectronics.
  * All rights reserved.
  *
  * This software is licensed under terms that can be found in the LICENSE file
  * in the root directory of this software component.
  * If no LICENSE file comes with this software, it is provided AS-IS.
  *
  ******************************************************************************
  */
/* USER CODE END Header */

#include "FreeRTOS.h"
#include "task.h"
#include "main.h"
#include "cmsis_os.h"

/* USER CODE BEGIN Includes */
#include "bsp_can.h"

/* USER CODE END Includes */

/* USER CODE BEGIN Variables */
osThreadId_t StorageTaskHandle;
const osThreadAttr_t StorageTask_attributes = {
  .name = "StorageTask",
  .stack_size = 1024 * 4,
  .priority = (osPriority_t) osPriorityLow,
};

/* USER CODE END Variables */
/* Definitions for TransportTask */
osThreadId_t TransportTaskHandle;
const osThreadAttr_t TransportTask_attributes = {
  .name = "TransportTask",
  .stack_size = 2048 * 4,
  .priority = (osPriority_t) osPriorityNormal,
};
/* Definitions for InsTask */
osThreadId_t InsTaskHandle;
const osThreadAttr_t InsTask_attributes = {
  .name = "InsTask",
  .stack_size = 2048 * 4,
  .priority = (osPriority_t) osPriorityHigh1,
};
/* Definitions for CanTxTask */
osThreadId_t CanTxTaskHandle;
const osThreadAttr_t CanTxTask_attributes = {
  .name = "CanTxTask",
  .stack_size = 1024 * 4,
  .priority = (osPriority_t) osPriorityHigh,
};
/* Definitions for TIM_1ms_Task */
osThreadId_t TIM_1ms_TaskHandle;
const osThreadAttr_t TIM_1ms_Task_attributes = {
  .name = "TIM_1ms_Task",
  .stack_size = 1024 * 4,
  .priority = (osPriority_t) osPriorityLow,
};
/* Definitions for BMI088Task */
osThreadId_t BMI088TaskHandle;
const osThreadAttr_t BMI088Task_attributes = {
  .name = "BMI088Task",
  .stack_size = 2048 * 4,
  .priority = (osPriority_t) osPriorityLow,
};
/* Definitions for GimbalTask */
osThreadId_t GimbalTaskHandle;
const osThreadAttr_t GimbalTask_attributes = {
  .name = "GimbalTask",
  .stack_size = 2048 * 4,
  .priority = (osPriority_t) osPriorityLow,
};

/* USER CODE BEGIN FunctionPrototypes */
void Storage_Task(void *argument);

/* USER CODE END FunctionPrototypes */

void Transport_Task(void *argument);
void Ins_Task(void *argument);
void Can_Tx_Task(void *argument);
void TIM1msTask(void *argument);
void BMI088_Task(void *argument);
void Control_Task(void *argument);

extern void MX_USB_DEVICE_Init(void);
void MX_FREERTOS_Init(void); /* (MISRA C 2004 rule 8.1) */

/* Hook prototypes */
void configureTimerForRunTimeStats(void);
unsigned long getRunTimeCounterValue(void);

/* USER CODE BEGIN 1 */
/* Functions needed when configGENERATE_RUN_TIME_STATS is on */
__weak void configureTimerForRunTimeStats(void)
{

}

__weak unsigned long getRunTimeCounterValue(void)
{
return 0;
}
/* USER CODE END 1 */

void MX_FREERTOS_Init(void) {
  /* USER CODE BEGIN Init */
  BSP_CAN_ConfigInit();

  /* USER CODE END Init */

  /* Create the thread(s) */
  /* creation of TransportTask */
  TransportTaskHandle = osThreadNew(Transport_Task, NULL, &TransportTask_attributes);

  /* creation of InsTask */
  InsTaskHandle = osThreadNew(Ins_Task, NULL, &InsTask_attributes);

  /* creation of CanTxTask */
  CanTxTaskHandle = osThreadNew(Can_Tx_Task, NULL, &CanTxTask_attributes);

  /* creation of TIM_1ms_Task */
  TIM_1ms_TaskHandle = osThreadNew(TIM1msTask, NULL, &TIM_1ms_Task_attributes);

  /* creation of BMI088Task */
  BMI088TaskHandle = osThreadNew(BMI088_Task, NULL, &BMI088Task_attributes);

  /* creation of GimbalTask */
  GimbalTaskHandle = osThreadNew(Control_Task, NULL, &GimbalTask_attributes);

  /* USER CODE BEGIN RTOS_THREADS */
  StorageTaskHandle = osThreadNew(Storage_Task, NULL, &StorageTask_attributes);
  /* USER CODE END RTOS_THREADS */

}

__weak void Transport_Task(void *argument)
{
  /* init code for USB_DEVICE */
  MX_USB_DEVICE_Init();
  for(;;)
  {
    osDelay(1);
  }
}

__weak void Ins_Task(void *argument)
{
  for(;;)
  {
    osDelay(1);
  }
}

__weak void Can_Tx_Task(void *argument)
{
  for(;;)
  {
    osDelay(1);
  }
}

__weak void TIM1msTask(void *argument)
{
  for(;;)
  {
    osDelay(1);
  }
}

__weak void BMI088_Task(void *argument)
{
  for(;;)
  {
    osDelay(1);
  }
}

__weak void Control_Task(void *argument)
{
  for(;;)
  {
    osDelay(1);
  }
}

/* USER CODE BEGIN Application */
volatile char *dbg_overflow_task_name = NULL;

void vApplicationStackOverflowHook(TaskHandle_t xTask, char *pcTaskName)
{
  (void)xTask;
  dbg_overflow_task_name = (volatile char *)pcTaskName;
  __asm volatile("bkpt #0");
  for (;;) {}
}
/* USER CODE END Application */
